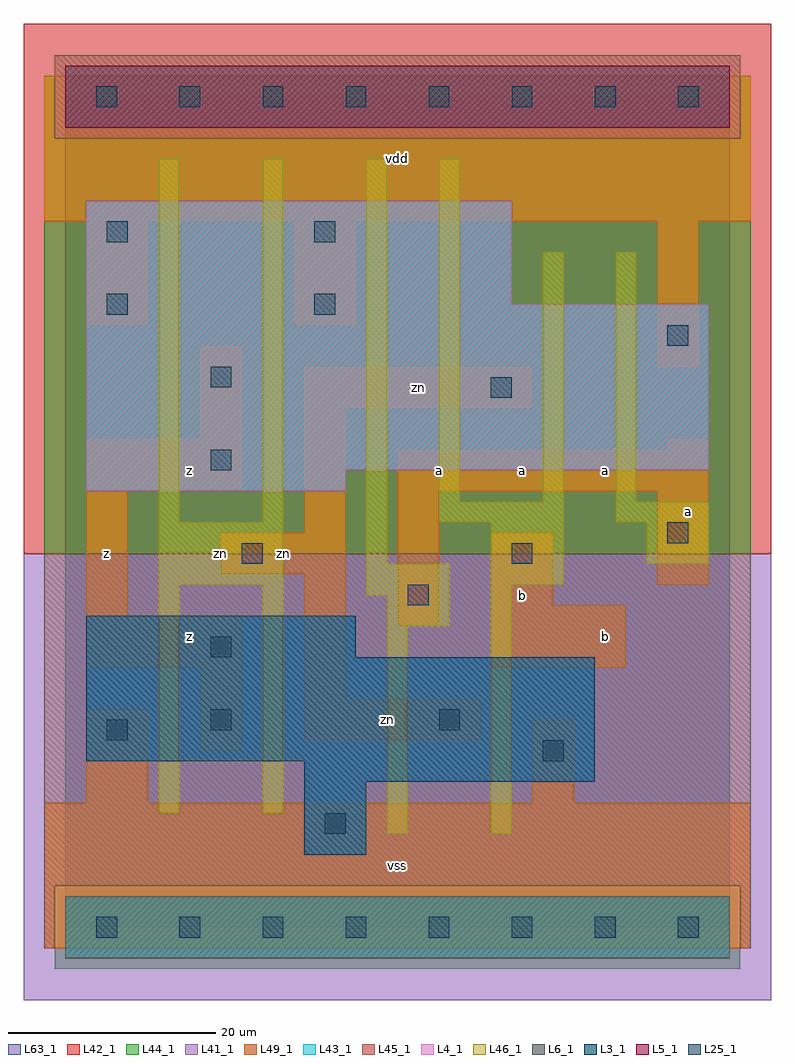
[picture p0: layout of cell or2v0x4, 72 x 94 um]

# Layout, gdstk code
import gdstk
lib = gdstk.Library(unit=1e-6, precision=1e-09)
def R(c, l, rs):  # rectangles x0, y0, x1, y1
    for r in rs: c.add(gdstk.rectangle(r[:2], r[2:], *l))
def A(c, l, x, y, w, h, nx, ny, dx, dy):  # array of equal rectangles
    R(c, l, [(x+i*dx, y+j*dy, x+i*dx+w, y+j*dy+h) for i in range(nx) for j in range(ny)])
L3_1 = (3, 1)
L4_1 = (4, 1)
L5_1 = (5, 1)
L6_1 = (6, 1)
L25_1 = (25, 1)
L41_1 = (41, 1)
L42_1 = (42, 1)
L43_1 = (43, 1)
L44_1 = (44, 1)
L45_1 = (45, 1)
L46_1 = (46, 1)
L49_1 = (49, 1)
L63_1 = (63, 1)

or2v0x4 = lib.new_cell('or2v0x4')
R(or2v0x4, L3_1, [(23,7,29,14), (23,14,51,16), (2,16,51,26), (2,26,28,30)])
R(or2v0x4, L4_1, [(2,42,27,44), (2,44,62,60), (2,60,43,70)])
R(or2v0x4, L5_1, [(0,77,64,83)])
R(or2v0x4, L6_1, [(0,-3,64,3), (0,-3,64,3)])
A(or2v0x4, L25_1, 3, -1, 2, 2, 8, 2, 8, 80)
R(or2v0x4, L25_1, [(25,9,27,11), (46,16,48,18), (4,18,6,20), (14,19,16,21), (36,19,38,21), (14,26,16,28), (33,31,35,33), (17,35,19,37), (43,35,45,37), (58,37,60,39), (14,44,16,46), (41,51,43,53), (14,52,16,54), (58,56,60,58), (4,59,6,61), (24,59,26,61), (4,66,6,68), (24,66,26,68)])
R(or2v0x4, L41_1, [(-4,-7,68,36)])
R(or2v0x4, L42_1, [(-4,36,68,87)])
R(or2v0x4, L43_1, [(0,-3,64,3), (23,7,29,14), (23,14,51,16), (2,16,51,26), (2,26,28,30), (2,42,27,44), (2,44,62,60), (2,60,43,70), (0,77,64,83)])
R(or2v0x4, L44_1, [(-1,-4,65,4), (-2,36,66,76), (-2,76,-1,82), (65,76,66,82)])
R(or2v0x4, L45_1, [(-2,-2,-1,4), (65,-2,66,4), (-2,4,66,36), (-1,76,65,84)])
R(or2v0x4, L46_1, [(31,9,33,29), (41,9,43,33), (9,11,11,33), (19,11,21,33), (31,29,37,32), (29,32,37,35), (9,33,21,39), (41,33,48,39), (29,35,31,74), (56,35,62,39), (9,39,11,74), (19,39,21,74), (36,39,48,41), (53,39,62,41), (36,41,38,74), (46,41,48,65), (53,41,55,65)])
R(or2v0x4, L49_1, [(-2,-2,66,12), (2,12,8,21), (45,12,49,20), (13,17,17,25), (23,18,40,22), (23,22,27,34), (2,25,17,30), (41,25,54,31), (32,29,36,42), (2,30,6,42), (41,31,47,38), (57,33,62,42), (15,34,27,38), (23,38,27,50), (2,42,17,47), (32,42,62,46), (58,46,62,47), (13,47,17,56), (23,50,45,54), (57,54,61,68), (2,58,8,68), (22,58,28,68), (-2,68,66,82)])
R(or2v0x4, L63_1, [(0,0,64,80)])
or2v0x4.add(gdstk.Label('zn', (15,36), layer=46, texttype=1))
or2v0x4.add(gdstk.Label('z', (4,36), layer=49, texttype=1))
or2v0x4.add(gdstk.Label('z', (12,28), layer=49, texttype=1))
or2v0x4.add(gdstk.Label('z', (12,44), layer=49, texttype=1))
or2v0x4.add(gdstk.Label('vss', (32,6), layer=49, texttype=1))
or2v0x4.add(gdstk.Label('zn', (21,36), layer=49, texttype=1))
or2v0x4.add(gdstk.Label('a', (36,44), layer=49, texttype=1))
or2v0x4.add(gdstk.Label('vdd', (32,74), layer=49, texttype=1))
or2v0x4.add(gdstk.Label('zn', (31,20), layer=49, texttype=1))
or2v0x4.add(gdstk.Label('b', (44,32), layer=49, texttype=1))
or2v0x4.add(gdstk.Label('a', (44,44), layer=49, texttype=1))
or2v0x4.add(gdstk.Label('zn', (34,52), layer=49, texttype=1))
or2v0x4.add(gdstk.Label('b', (52,28), layer=49, texttype=1))
or2v0x4.add(gdstk.Label('a', (52,44), layer=49, texttype=1))
or2v0x4.add(gdstk.Label('a', (60,40), layer=49, texttype=1))

lib.write_gds('or2v0x4.gds')
